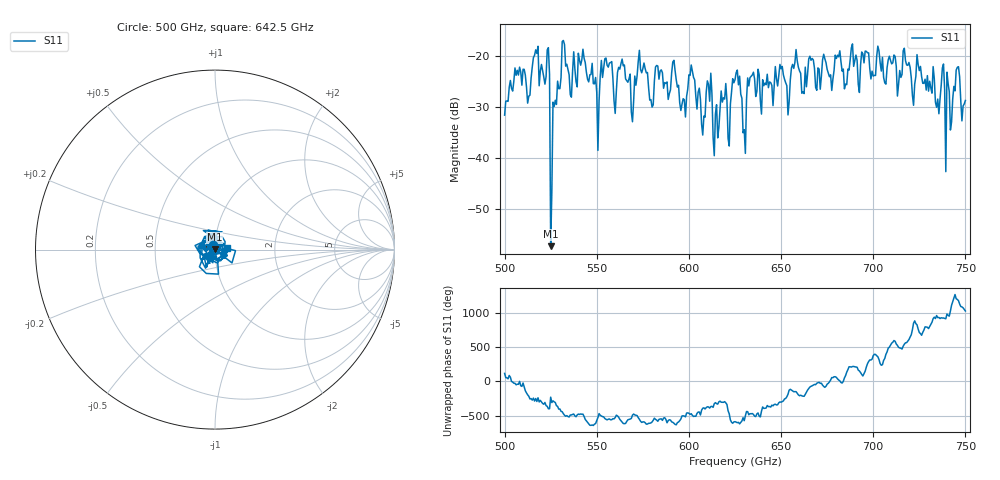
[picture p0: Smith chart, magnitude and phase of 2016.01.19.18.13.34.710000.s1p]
!Created with skrf (http://scikit-rf.org).
# GHz S RI R 50.0
!freq ReS11 ImS11
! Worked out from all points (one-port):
!   401 points, 500 GHz to 750 GHz, reference 50 ohm
!   lowest |S11| = -57.2 dB at 525 GHz (marker M1), VSWR 1.00, Z = 49.9 + j0.105 ohm
!   |S11| at or under -10 dB: start of sweep to end of sweep
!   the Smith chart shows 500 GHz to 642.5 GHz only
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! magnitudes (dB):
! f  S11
! 500 GHz  -31.6
! 506.9 GHz  -22.8
! 513.1 GHz  -27.9
! 516.9 GHz  -18.8
! 523.1 GHz  -18.8
! 525 GHz  -57.2
! 526.2 GHz  -29.0
! 527.5 GHz  -28.7
! 531.2 GHz  -17.2
! 550 GHz  -27.2
! 553.8 GHz  -22.3
! 562.5 GHz  -22.6
! 570 GHz  -28.9
! 573.8 GHz  -22.6
! 579.4 GHz  -28.6
! 583.1 GHz  -22.0
! 593.8 GHz  -26.1
! 601.9 GHz  -23.0
! 607.5 GHz  -35.5
! 611.2 GHz  -28.9
! 614.4 GHz  -31.3
! 625 GHz  -24.7
! 630 GHz  -34.4
! 633.1 GHz  -24.3
! 656.2 GHz  -21.7
! 687.5 GHz  -20.7
! 718.8 GHz  -21.8
! 750 GHz  -28.7
